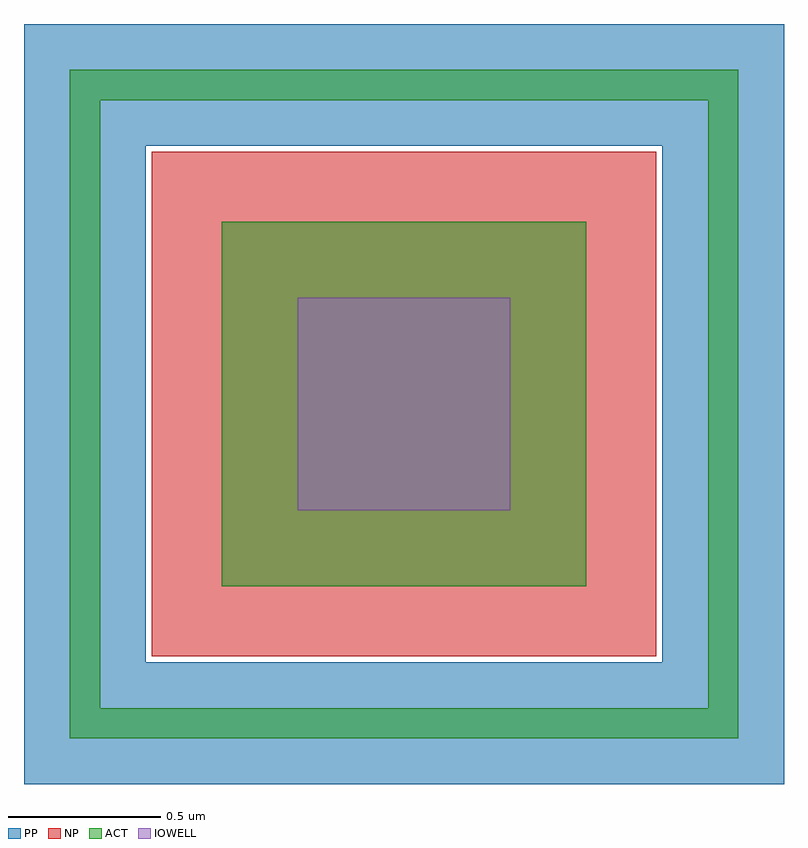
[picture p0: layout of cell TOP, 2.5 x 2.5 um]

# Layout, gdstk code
import gdstk
lib = gdstk.Library(unit=1e-6, precision=1e-09)
def R(c, l, rs):  # rectangles x0, y0, x1, y1
    for r in rs: c.add(gdstk.rectangle(r[:2], r[2:], *l))
ACT = (2, 1)
IOWELL = (28, 1)
NP = (52, 1)
PP = (53, 1)

top = lib.new_cell('TOP')
R(top, ACT, [(-1.1,-1.1,1.1,-1), (-1.1,-1,-1,1), (1,-1,1.1,1), (-0.6,-0.6,0.6,0.6), (-1.1,1,1.1,1.1)])
R(top, IOWELL, [(-0.35,-0.35,0.35,0.35)])
R(top, NP, [(-0.83,-0.83,0.83,0.83)])
R(top, PP, [(-1.25,-1.25,1.25,-0.85), (-1.25,-0.85,-0.85,0.85), (0.85,-0.85,1.25,0.85), (-1.25,0.85,1.25,1.25)])

lib.write_gds('TOP.gds')
